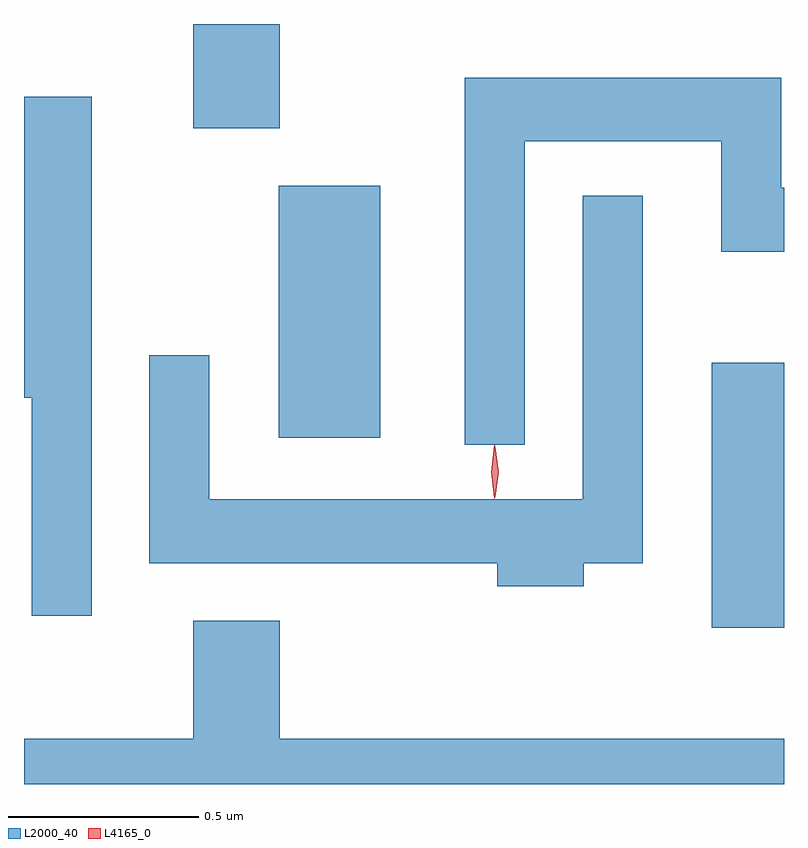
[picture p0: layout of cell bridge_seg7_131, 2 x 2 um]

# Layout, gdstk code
import gdstk
lib = gdstk.Library(unit=1e-6, precision=1e-09)
def R(c, l, rs):  # rectangles x0, y0, x1, y1
    for r in rs: c.add(gdstk.rectangle(r[:2], r[2:], *l))
def P(c, l, *ps):  # polygons
    for p in ps: c.add(gdstk.Polygon(p, *l))
L2000_40 = (2000, 40)
L4165_0 = (4165, 0)

bridge_seg7_131 = lib.new_cell('bridge_seg7_131')
R(bridge_seg7_131, L2000_40, [(1584.296,1792.576,1584.486,1793.274), (1583.156,1793.076,1583.424,1793.739), (1582.931,1793.891,1583.159,1794.165)])
P(bridge_seg7_131, L2000_40, [(1583.804,1793.856),(1584.321,1793.856),(1584.321,1793.566),(1584.486,1793.566),(1584.486,1793.734),(1584.479,1793.734),(1584.479,1794.024),(1583.646,1794.024),(1583.646,1793.058),(1583.804,1793.058)],
  [(1582.664,1793.974),(1582.486,1793.974),(1582.486,1793.181),(1582.506,1793.181),(1582.506,1792.608),(1582.664,1792.608)],
  [(1583.959,1792.746),(1584.114,1792.746),(1584.114,1793.713),(1583.956,1793.713),(1583.956,1792.914),(1582.974,1792.914),(1582.974,1793.293),(1582.816,1793.293),(1582.816,1792.746),(1583.731,1792.746),(1583.731,1792.686),(1583.959,1792.686)],
  [(1583.159,1792.594),(1582.931,1792.594),(1582.931,1792.284),(1582.486,1792.284),(1582.486,1792.165),(1584.486,1792.165),(1584.486,1792.284),(1583.159,1792.284)])
P(bridge_seg7_131, L4165_0, [(1583.724,1792.917),(1583.715,1792.986),(1583.724,1793.056),(1583.725,1793.056),(1583.725,1793.056),(1583.735,1792.986),(1583.725,1792.917),(1583.725,1792.917)],
  [(1583.725,1792.919),(1583.725,1792.92),(1583.715,1792.986),(1583.725,1793.052),(1583.725,1793.053),(1583.726,1793.052),(1583.735,1792.986),(1583.726,1792.92)])

lib.write_gds('bridge_seg7_131.gds')
